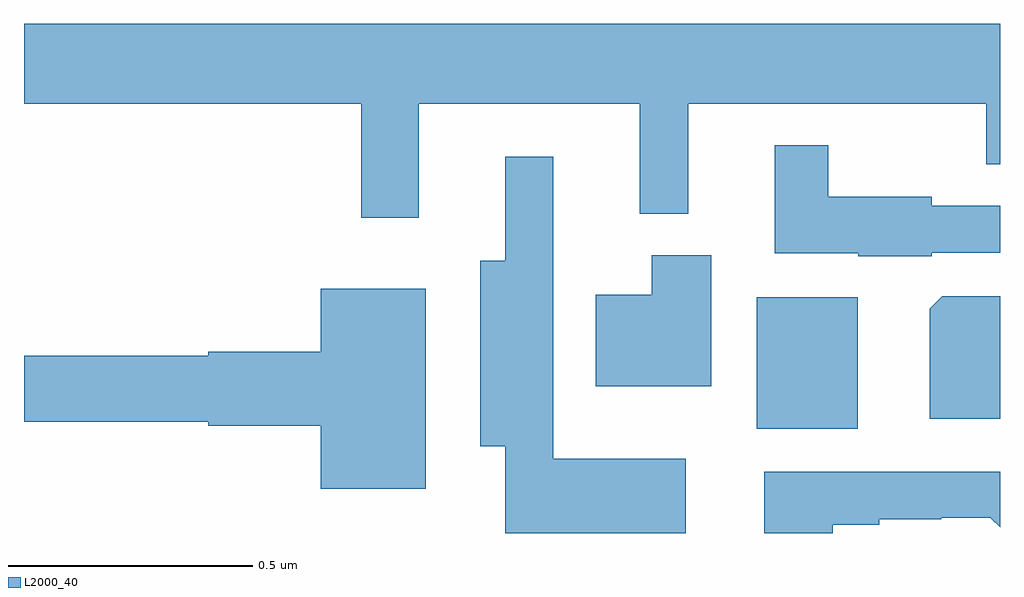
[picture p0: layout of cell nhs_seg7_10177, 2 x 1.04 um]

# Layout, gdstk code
import gdstk
lib = gdstk.Library(unit=1e-6, precision=1e-09)
def R(c, l, rs):  # rectangles x0, y0, x1, y1
    for r in rs: c.add(gdstk.rectangle(r[:2], r[2:], *l))
def P(c, l, *ps):  # polygons
    for p in ps: c.add(gdstk.Polygon(p, *l))
L2000_40 = (2000, 40)

nhs_seg7_10177 = lib.new_cell('nhs_seg7_10177')
R(nhs_seg7_10177, L2000_40, [(247.502,1069.214,247.708,1069.484)])
P(nhs_seg7_10177, L2000_40, [(246.809,1069.88),(247.262,1069.88),(247.262,1069.655),(247.361,1069.655),(247.361,1069.88),(247.972,1069.88),(247.972,1069.756),(248,1069.756),(248,1070.044),(246,1070.044),(246,1069.88),(246.691,1069.88),(246.691,1069.647),(246.809,1069.647)],
  [(247.86,1069.575),(248,1069.575),(248,1069.671),(247.86,1069.671),(247.86,1069.69),(247.648,1069.69),(247.648,1069.795),(247.538,1069.795),(247.538,1069.574),(247.71,1069.574),(247.71,1069.568),(247.86,1069.568)],
  [(247.356,1069.153),(247.085,1069.153),(247.085,1069.771),(246.986,1069.771),(246.986,1069.558),(246.935,1069.558),(246.935,1069.178),(246.986,1069.178),(246.986,1069),(247.356,1069)],
  [(247.408,1069.57),(247.286,1069.57),(247.286,1069.489),(247.172,1069.489),(247.172,1069.301),(247.408,1069.301)],
  [(246.823,1069.501),(246.608,1069.501),(246.608,1069.372),(246.378,1069.372),(246.378,1069.364),(246,1069.364),(246,1069.228),(246.378,1069.228),(246.378,1069.22),(246.608,1069.22),(246.608,1069.091),(246.823,1069.091)],
  [(248,1069.486),(247.882,1069.486),(247.856,1069.46),(247.856,1069.235),(248,1069.235)],
  [(247.657,1069.017),(247.753,1069.017),(247.753,1069.029),(247.88,1069.029),(247.88,1069.032),(247.98,1069.032),(248,1069.012),(248,1069.126),(247.517,1069.126),(247.517,1069),(247.657,1069)])

lib.write_gds('nhs_seg7_10177.gds')
